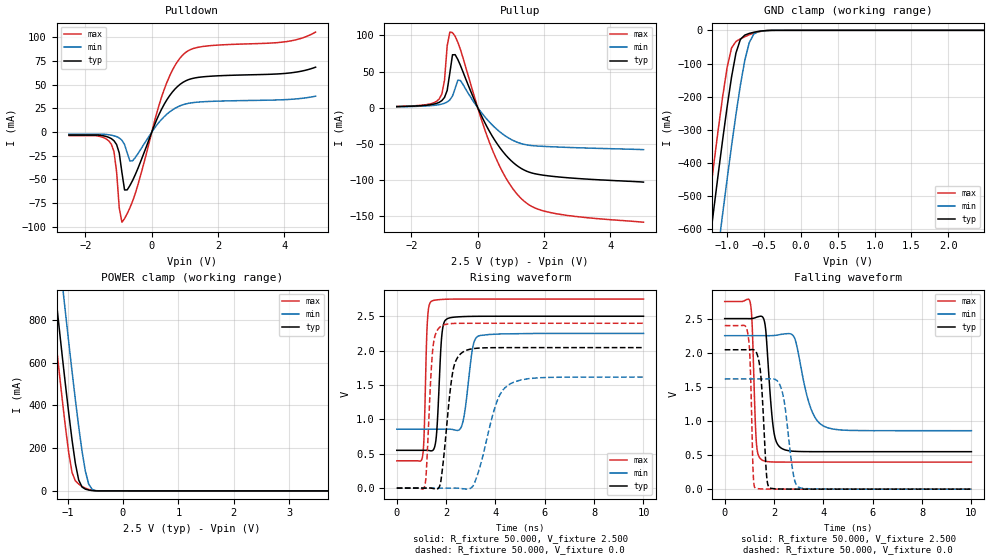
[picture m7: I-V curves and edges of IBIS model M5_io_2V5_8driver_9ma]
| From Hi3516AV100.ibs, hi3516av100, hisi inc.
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|   Model M5_io_2V5_8driver_9ma
[Model] M5_io_2V5_8driver_9ma
Model_type I/O
Enable   Active-Low
C_comp   2.851pF   2.484pF   3.051pF
C_comp_pullup   1.677pF   1.459pF   1.799pF
C_comp_pulldown   1.019pF   0.927pF   1.029pF
[Temperature Range]   25.000   0.125k   -40.000
[Voltage Range]   2.500V   2.250V   2.750V
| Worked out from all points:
|   slope of the pulldown table from 0 to 0.375 V, typ, clamps not added: 12.7 ohm
|   slope of the pullup table from 0 to 0.375 V, typ, clamps not added: 10.9 ohm
|   GND clamp passes 1 mA (typ) near -0.48 V on its own axis
|   POWER clamp passes 1 mA (typ) near -0.53 V on its own axis
|   rising waveform, R_fixture 50.000, V_fixture 2.500: 20-80 % time 159ps typ, 279ps min, 105ps max; typ from 0.549 V to 2.5 V
|   rising waveform, R_fixture 50.000, V_fixture 0.0: 20-80 % time 353ps typ, 713ps min, 203ps max; typ from 0 V to 2.04 V
|   falling waveform, R_fixture 50.000, V_fixture 2.500: 20-80 % time 245ps typ, 549ps min, 128ps max; typ from 2.5 V to 0.549 V
|   falling waveform, R_fixture 50.000, V_fixture 0.0: 20-80 % time 188ps typ, 326ps min, 108ps max; typ from 2.04 V to 0 V
[Pulldown]
|Voltage   I(typ)   I(min)   I(max)
-2.5V     -3.109mA   -2.257mA   -3.631mA
-1.22V    -6.838mA   -3.228mA   -12.72mA
-1.14V    -9.063mA   -3.854mA   -20.54mA
-1.06V    -13.16mA   -4.76mA    -42.05mA
-980mV    -22.16mA   -6.169mA   -80.21mA
-900mV    -42.6mA    -8.577mA   -95.14mA
-820mV    -61.09mA   -13.19mA   -91.3mA
-660mV    -56.48mA   -30.45mA   -80.06mA
-580mV    -51.16mA   -30.39mA   -73.17mA
300mV     24.53mA    13.66mA    37.5mA
940mV     52.6mA     28.93mA    81.7mA
4.94V     68.62mA    37.98mA    105.7mA
[Pullup]
|Voltage   I(typ)   I(min)   I(max)
-2.44V    1.421mA    1.133mA    1.612mA
-1.16V    7.355mA    4.128mA    12.02mA
-1V       14.13mA    6.021mA    38.11mA
-920mV    23.85mA    7.732mA    85.59mA
-840mV    47.93mA    10.61mA    104.6mA
-760mV    73.13mA    16.03mA    103.8mA
-600mV    66.73mA    37.95mA    90.65mA
-520mV    58.36mA    37.54mA    80.41mA
440mV     -39.6mA    -24.09mA   -58.18mA
1.32V     -84.46mA   -49.94mA   -126.3mA
2.28V     -95.3mA    -54.34mA   -146.2mA
5V        -103.2mA   -58.22mA   -158.7mA
[GND_clamp]
|Voltage   I(typ)   I(min)   I(max)
-2.5V     -3.009A    -3.204A    -2.893A
-1.3V     -755.4mA   -981.8mA   -619.6mA
-1.24V    -646mA     -872.5mA   -510.1mA
-1.18V    -538mA     -764.3mA   -402.5mA
-1.12V    -431.9mA   -657.3mA   -298.1mA
-1.06V    -328.9mA   -551.9mA   -199.2mA
-940mV    -140.8mA   -348.6mA   -53.39mA
-880mV    -68.26mA   -253.2mA   -33.53mA
-760mV    -14.36mA   -90.15mA   -19.21mA
-640mV    -5.898mA   -11.93mA   -8.548mA
-520mV    -1.624mA   -1.71mA    -2.149mA
2.48V     0A         0A         0A
[POWER_clamp]
|Voltage   I(typ)   I(min)   I(max)
-2.48V    4.113A     4.445A     3.916A
-1.34V    1.22A      1.563A     1.013A
-1.28V    1.072A     1.416A     865mA
-1.22V    925.6mA    1.269A     718.7mA
-1.1V     638mA      978.8mA    434.5mA
-1.04V    498.6mA    836.2mA    300.3mA
-920mV    238.2mA    558.8mA    86.51mA
-800mV    51.2mA     300.9mA    32.24mA
-680mV    8.374mA    92.98mA    12.81mA
-560mV    1.657mA    7.817mA    3.089mA
-440mV    129.7uA    341.3uA    189uA
5V        -48.94uA   -40.44nA   -88.02uA
[Ramp]
| variable   typ   min   max
dV/dt_r   1.226/0.353n   0.969/0.714n   1.438/0.204n
dV/dt_f   1.170/0.247n   0.836/0.549n   1.412/0.131n
R_load = 50.000
[Rising Waveform]
R_fixture= 50.000
V_fixture= 2.500
V_fixture_min= 2.250
V_fixture_max= 2.750
|time   V(typ)   V(min)   V(max)
0s        549.5mV    856.8mV    396.6mV
1.033ns   549.5mV    856.9mV    438.2mV
1.234ns   549.7mV    856.9mV    2.384V
1.394ns   541.3mV    856.8mV    2.716V
1.602ns   749.6mV    856.7mV    2.737V
1.85ns    2.298V     856.8mV    2.745V
2.059ns   2.467V     857.8mV    2.748V
2.644ns   2.494V     916.4mV    2.75V
3.324ns   2.499V     2.214V     2.75V
10ns      2.5V       2.25V      2.75V
[Rising Waveform]
R_fixture= 50.000
V_fixture= 0.0
V_fixture_min= 0.0
V_fixture_max= 0.0
|time   V(typ)   V(min)   V(max)
0s        400.2uV    0V         500.6uV
1.131ns   338.8uV    0V         27.08mV
1.463ns   -4.996mV   6.161uV    2.035V
1.792ns   113.3mV    -4.85uV    2.354V
2.262ns   1.677V     676.9uV    2.394V
2.673ns   1.978V     -8.85mV    2.397V
3.134ns   2.03V      60.33mV    2.398V
4.034ns   2.043V     1.233V     2.398V
4.544ns   2.043V     1.504V     2.398V
10ns      2.044V     1.616V     2.398V
[Falling Waveform]
R_fixture= 50.000
V_fixture= 2.500
V_fixture_min= 2.250
V_fixture_max= 2.750
|time   V(typ)   V(min)   V(max)
0s        2.5V       2.25V      2.75V
1.037ns   2.499V     2.25V      2.733V
1.284ns   2.52V      2.25V      686.6mV
1.515ns   2.53V      2.25V      427.2mV
1.66ns    2.342V     2.25V      408.6mV
1.984ns   861.8mV    2.252V     398.3mV
2.298ns   599.9mV    2.27V      396.8mV
2.831ns   555mV      2.216V     396.6mV
4.012ns   549.5mV    923.9mV    396.6mV
10ns      549.5mV    856.8mV    396.6mV
[Falling Waveform]
R_fixture= 50.000
V_fixture= 0.0
V_fixture_min= 0.0
V_fixture_max= 0.0
|time   V(typ)   V(min)   V(max)
0s        2.044V     1.616V     2.398V
935ps     2.043V     1.616V     2.284V
1.036ns   2.044V     1.616V     1.811V
1.163ns   2.044V     1.616V     171.8mV
1.245ns   2.026V     1.616V     16.21mV
1.457ns   1.695V     1.615V     3.98mV
1.818ns   20.92mV    1.617V     908.3uV
2.321ns   2.031mV    1.442V     521.1uV
3.022ns   488.1uV    24.39mV    501.4uV
10ns      400.3uV    0V         500.6uV
